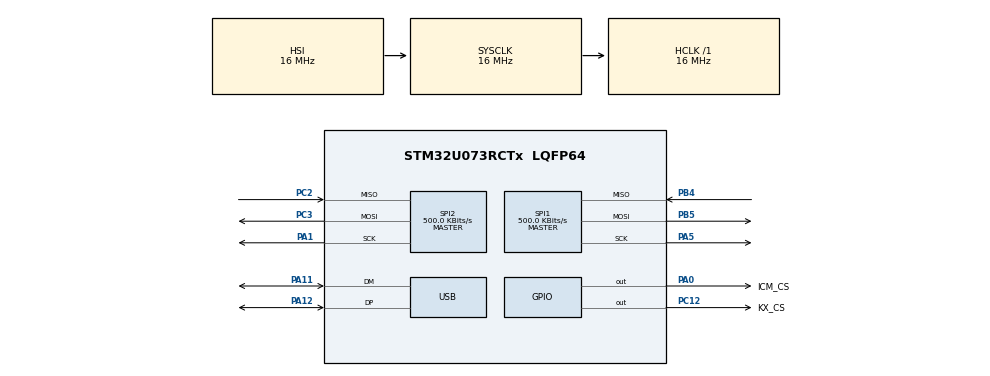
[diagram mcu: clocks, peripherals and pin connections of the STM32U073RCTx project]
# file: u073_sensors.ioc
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Mcu.Family=STM32U0
Mcu.Name=STM32U073RCTx
Mcu.Package=LQFP64
NVIC.PriorityGroup=NVIC_PRIORITYGROUP_2
PA0.GPIO_Label=ICM_CS
PA0.PinState=GPIO_PIN_SET
PA0.Signal=GPIO_Output
PA1.Mode=Full_Duplex_Master
PA1.Signal=SPI2_SCK
PA11\ [PA9].Mode=Device
PA11\ [PA9].Signal=USB_DM
PA12\ [PA10].Mode=Device
PA12\ [PA10].Signal=USB_DP
PA13\ (SWDIO).Mode=Serial_Wire
PA13\ (SWDIO).Signal=DEBUG_JTMS-SWDIO
PA14\ (SWCLK).Mode=Serial_Wire
PA14\ (SWCLK).Signal=DEBUG_JTCK-SWCLK
PA5.Mode=Full_Duplex_Master
PA5.Signal=SPI1_SCK
PB4.Mode=Full_Duplex_Master
PB4.Signal=SPI1_MISO
PB5.Mode=Full_Duplex_Master
PB5.Signal=SPI1_MOSI
PC12.GPIO_Label=KX_CS
PC12.PinState=GPIO_PIN_SET
PC12.Signal=GPIO_Output
PC2.Mode=Full_Duplex_Master
PC2.Signal=SPI2_MISO
PC3.Mode=Full_Duplex_Master
PC3.Signal=SPI2_MOSI
ProjectManager.HeapSize=0x200
ProjectManager.StackSize=0x400
ProjectManager.TargetToolchain=CMake
RCC.AHBFreq_Value=16000000
RCC.CortexFreq_Value=16000000
RCC.HCLKFreq_Value=16000000
RCC.HSE_VALUE=4000000
RCC.HSI48_VALUE=48000000
RCC.HSI_VALUE=16000000
RCC.LSE_VALUE=32768
RCC.MSIClockRangeVal=RCC_MSIRANGE_11
RCC.MSI_VALUE=48000000
RCC.SYSCLKFreq_VALUE=16000000
RCC.USBFreq_Value=48000000
RCC.VCOOutputFreq_Value=64000000
SPI1.BaudRatePrescaler=SPI_BAUDRATEPRESCALER_32
SPI1.CalculateBaudRate=500.0 KBits/s
SPI1.DataSize=SPI_DATASIZE_8BIT
SPI1.Direction=SPI_DIRECTION_2LINES
SPI1.Mode=SPI_MODE_MASTER
SPI1.VirtualType=VM_MASTER
SPI2.BaudRatePrescaler=SPI_BAUDRATEPRESCALER_32
SPI2.CalculateBaudRate=500.0 KBits/s
SPI2.DataSize=SPI_DATASIZE_8BIT
SPI2.Direction=SPI_DIRECTION_2LINES
SPI2.Mode=SPI_MODE_MASTER
SPI2.VirtualType=VM_MASTER
USB.VirtualMode=Device_Only
USBX.BSP.number=1
USBX.Core_System=1
USBX.USBD_CDCACM_EPIN_ADDR=2
USBX.USBD_CDCACM_EPOUT_ADDR=3
USBX.UX_DEVICE_CDC_ACM=1
USBX.UX_Device_Controller=1
USBX.UX_Device_CoreStack=1
USBX0.BSP.STBoard=false
USBX0.BSP.api=Unknown
USBX0.BSP.instance=USB
USBX0.BSP.ip=USB
USBX0.BSP.mode=Device_Only
USBX0.BSP.name=USB_Device
USBX0.BSP.solution=USB
VP_PWR_VS_SECSignals.Mode=Security/Privilege
VP_USBX_Core_System.Mode=Core_System
VP_USBX_UX\ Device\ CDC\ ACM\ Class_FS.Mode=UX_Device_class_CDC_ACM_FS
VP_USBX_UX\ Device\ Controller_FS.Mode=UX_Device_Controller_FS
VP_USBX_UX\ Device\ CoreStack_FS.Mode=UX_Device_CoreStack_FS
board=custom

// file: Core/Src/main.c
/* USER CODE BEGIN Header */
/**
  ******************************************************************************
  * @file           : main.c
  * @brief          : Main program body
  ******************************************************************************
  * @attention
  *
  * Copyright (c) 2026 STMicroelectronics.
  * All rights reserved.
  *
  * This software is licensed under terms that can be found in the LICENSE file
  * in the root directory of this software component.
  * If no LICENSE file comes with this software, it is provided AS-IS.
  *
  ******************************************************************************
  */
/* USER CODE END Header */
#include "main.h"
#include "app_usbx_device.h"

/* USER CODE BEGIN Includes */
#include "ux_device_cdc_acm.h"
#include "kx134.h"

/* USER CODE END Includes */

SPI_HandleTypeDef hspi1;
SPI_HandleTypeDef hspi2;

PCD_HandleTypeDef hpcd_USB_DRD_FS;

/* USER CODE BEGIN PV */
static KX134_t kx134;
static KX134_Data kx_data;
static KX134_Status kx_status;

/* USER CODE END PV */

void SystemClock_Config(void);
static void MX_GPIO_Init(void);
static void MX_SPI1_Init(void);
static void MX_SPI2_Init(void);

int main(void)
{

  /* MCU Configuration--------------------------------------------------------*/

  /* Reset of all peripherals, Initializes the Flash interface and the Systick. */
  HAL_Init();

  /* Configure the system clock */
  SystemClock_Config();

  /* Initialize all configured peripherals */
  MX_GPIO_Init();
  MX_SPI1_Init();
  MX_SPI2_Init();
  MX_USBX_Device_Init();
  /* USER CODE BEGIN 2 */
  kx_status = KX134_Init(&kx134,
                       &hspi1,
                       KX_CS_GPIO_Port,
                       KX_CS_Pin);

  /* USER CODE END 2 */

  /* Infinite loop */
  /* USER CODE BEGIN WHILE */
  while (1)
  {
    /* Run USBX device state machines */
    ux_device_stack_tasks_run();

    /* Run our CDC transmit state machine */
    USB_CDC_Process();

    /* USER CODE END WHILE */

    /* USER CODE BEGIN 3 */
    static uint32_t last_kx_read = 0U;

    if ((HAL_GetTick() - last_kx_read) >= 1000U)
    {
      last_kx_read = HAL_GetTick();

      if (kx_status == KX134_OK)
      {
        kx_status = KX134_ReadAcceleration(&kx134, &kx_data);
      }
    }
  }
  /* USER CODE END 3 */
}

void SystemClock_Config(void)
{
  RCC_OscInitTypeDef RCC_OscInitStruct = {0};
  RCC_ClkInitTypeDef RCC_ClkInitStruct = {0};

  /** Configure the main internal regulator output voltage
  */
  HAL_PWREx_ControlVoltageScaling(PWR_REGULATOR_VOLTAGE_SCALE2);

  /** Initializes the RCC Oscillators according to the specified parameters
  * in the RCC_OscInitTypeDef structure.
  */
  RCC_OscInitStruct.OscillatorType = RCC_OSCILLATORTYPE_HSI|RCC_OSCILLATORTYPE_MSI;
  RCC_OscInitStruct.HSIState = RCC_HSI_ON;
  RCC_OscInitStruct.HSICalibrationValue = RCC_HSICALIBRATION_DEFAULT;
  RCC_OscInitStruct.MSIState = RCC_MSI_ON;
  RCC_OscInitStruct.MSICalibrationValue = RCC_MSICALIBRATION_DEFAULT;
  RCC_OscInitStruct.MSIClockRange = RCC_MSIRANGE_11;
  RCC_OscInitStruct.PLL.PLLState = RCC_PLL_NONE;
  if (HAL_RCC_OscConfig(&RCC_OscInitStruct) != HAL_OK)
  {
    Error_Handler();
  }

  /** Initializes the CPU, AHB and APB buses clocks
  */
  RCC_ClkInitStruct.ClockType = RCC_CLOCKTYPE_HCLK|RCC_CLOCKTYPE_SYSCLK
                              |RCC_CLOCKTYPE_PCLK1;
  RCC_ClkInitStruct.SYSCLKSource = RCC_SYSCLKSOURCE_HSI;
  RCC_ClkInitStruct.AHBCLKDivider = RCC_SYSCLK_DIV1;
  RCC_ClkInitStruct.APB1CLKDivider = RCC_HCLK_DIV1;

  if (HAL_RCC_ClockConfig(&RCC_ClkInitStruct, FLASH_LATENCY_1) != HAL_OK)
  {
    Error_Handler();
  }
}

static void MX_SPI1_Init(void)
{

  /* SPI1 parameter configuration*/
  hspi1.Instance = SPI1;
  hspi1.Init.Mode = SPI_MODE_MASTER;
  hspi1.Init.Direction = SPI_DIRECTION_2LINES;
  hspi1.Init.DataSize = SPI_DATASIZE_8BIT;
  hspi1.Init.CLKPolarity = SPI_POLARITY_LOW;
  hspi1.Init.CLKPhase = SPI_PHASE_1EDGE;
  hspi1.Init.NSS = SPI_NSS_SOFT;
  hspi1.Init.BaudRatePrescaler = SPI_BAUDRATEPRESCALER_32;
  hspi1.Init.FirstBit = SPI_FIRSTBIT_MSB;
  hspi1.Init.TIMode = SPI_TIMODE_DISABLE;
  hspi1.Init.CRCCalculation = SPI_CRCCALCULATION_DISABLE;
  hspi1.Init.CRCPolynomial = 7;
  hspi1.Init.CRCLength = SPI_CRC_LENGTH_DATASIZE;
  hspi1.Init.NSSPMode = SPI_NSS_PULSE_ENABLE;
  if (HAL_SPI_Init(&hspi1) != HAL_OK)
  {
    Error_Handler();
  }

}

static void MX_SPI2_Init(void)
{

  /* SPI2 parameter configuration*/
  hspi2.Instance = SPI2;
  hspi2.Init.Mode = SPI_MODE_MASTER;
  hspi2.Init.Direction = SPI_DIRECTION_2LINES;
  hspi2.Init.DataSize = SPI_DATASIZE_8BIT;
  hspi2.Init.CLKPolarity = SPI_POLARITY_LOW;
  hspi2.Init.CLKPhase = SPI_PHASE_1EDGE;
  hspi2.Init.NSS = SPI_NSS_SOFT;
  hspi2.Init.BaudRatePrescaler = SPI_BAUDRATEPRESCALER_32;
  hspi2.Init.FirstBit = SPI_FIRSTBIT_MSB;
  hspi2.Init.TIMode = SPI_TIMODE_DISABLE;
  hspi2.Init.CRCCalculation = SPI_CRCCALCULATION_DISABLE;
  hspi2.Init.CRCPolynomial = 7;
  hspi2.Init.CRCLength = SPI_CRC_LENGTH_DATASIZE;
  hspi2.Init.NSSPMode = SPI_NSS_PULSE_ENABLE;
  if (HAL_SPI_Init(&hspi2) != HAL_OK)
  {
    Error_Handler();
  }

}

void MX_USB_PCD_Init(void)
{

  hpcd_USB_DRD_FS.Instance = USB_DRD_FS;
  hpcd_USB_DRD_FS.Init.dev_endpoints = 8;
  hpcd_USB_DRD_FS.Init.speed = USBD_FS_SPEED;
  hpcd_USB_DRD_FS.Init.phy_itface = PCD_PHY_EMBEDDED;
  hpcd_USB_DRD_FS.Init.Sof_enable = DISABLE;
  hpcd_USB_DRD_FS.Init.low_power_enable = DISABLE;
  hpcd_USB_DRD_FS.Init.lpm_enable = DISABLE;
  hpcd_USB_DRD_FS.Init.battery_charging_enable = DISABLE;
  if (HAL_PCD_Init(&hpcd_USB_DRD_FS) != HAL_OK)
  {
    Error_Handler();
  }

}

static void MX_GPIO_Init(void)
{
  GPIO_InitTypeDef GPIO_InitStruct = {0};

  /* GPIO Ports Clock Enable */
  __HAL_RCC_GPIOC_CLK_ENABLE();
  __HAL_RCC_GPIOA_CLK_ENABLE();
  __HAL_RCC_GPIOB_CLK_ENABLE();

  /*Configure GPIO pin Output Level */
  HAL_GPIO_WritePin(ICM_CS_GPIO_Port, ICM_CS_Pin, GPIO_PIN_SET);

  /*Configure GPIO pin Output Level */
  HAL_GPIO_WritePin(KX_CS_GPIO_Port, KX_CS_Pin, GPIO_PIN_SET);

  /*Configure GPIO pin : ICM_CS_Pin */
  GPIO_InitStruct.Pin = ICM_CS_Pin;
  GPIO_InitStruct.Mode = GPIO_MODE_OUTPUT_PP;
  GPIO_InitStruct.Pull = GPIO_NOPULL;
  GPIO_InitStruct.Speed = GPIO_SPEED_FREQ_LOW;
  HAL_GPIO_Init(ICM_CS_GPIO_Port, &GPIO_InitStruct);

  /*Configure GPIO pin : KX_CS_Pin */
  GPIO_InitStruct.Pin = KX_CS_Pin;
  GPIO_InitStruct.Mode = GPIO_MODE_OUTPUT_PP;
  GPIO_InitStruct.Pull = GPIO_NOPULL;
  GPIO_InitStruct.Speed = GPIO_SPEED_FREQ_LOW;
  HAL_GPIO_Init(KX_CS_GPIO_Port, &GPIO_InitStruct);

}

void Error_Handler(void)
{
  __disable_irq();
  while (1)
  {
  }
}
